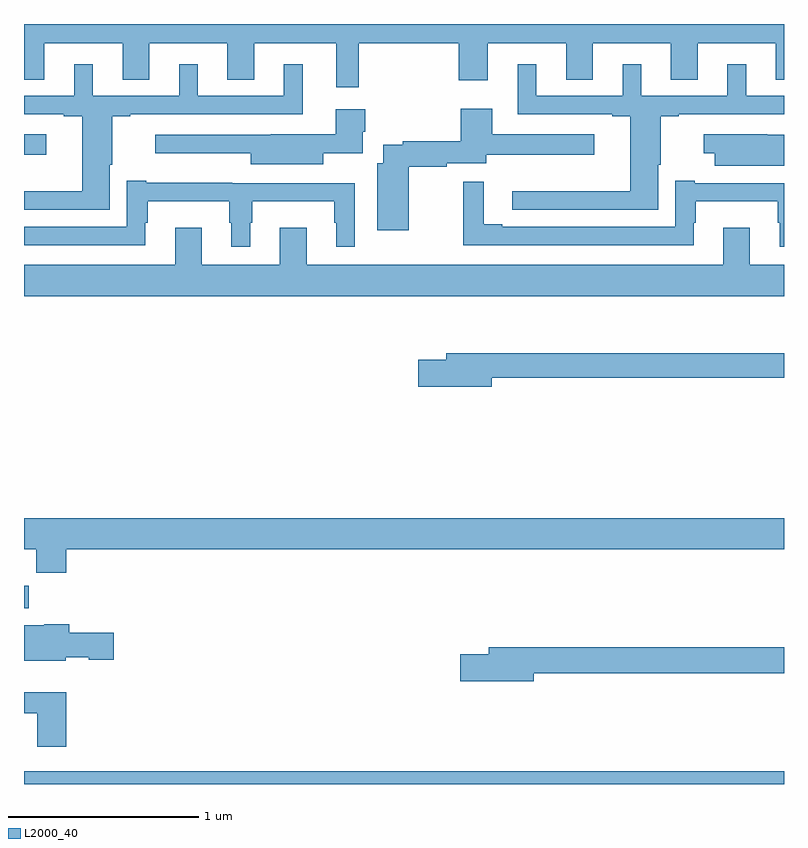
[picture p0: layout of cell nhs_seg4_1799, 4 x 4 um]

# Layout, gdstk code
import gdstk
lib = gdstk.Library(unit=1e-6, precision=1e-09)
def R(c, l, rs):  # rectangles x0, y0, x1, y1
    for r in rs: c.add(gdstk.rectangle(r[:2], r[2:], *l))
def P(c, l, *ps):  # polygons
    for p in ps: c.add(gdstk.Polygon(p, *l))
L2000_40 = (2000, 40)

nhs_seg4_1799 = lib.new_cell('nhs_seg4_1799')
R(nhs_seg4_1799, L2000_40, [(203,812.9,207,812.968), (203,813.824,203.024,813.943), (203,816.212,203.116,816.319)])
P(nhs_seg4_1799, L2000_40, [(204.761,816.8),(205.289,816.8),(205.289,816.603),(205.441,816.603),(205.441,816.8),(205.853,816.8),(205.853,816.607),(205.993,816.607),(205.993,816.8),(206.405,816.8),(206.405,816.607),(206.545,816.607),(206.545,816.8),(206.957,816.8),(206.957,816.607),(207,816.607),(207,816.9),(203,816.9),(203,816.607),(203.107,816.607),(203.107,816.8),(203.519,816.8),(203.519,816.607),(203.659,816.607),(203.659,816.8),(204.071,816.8),(204.071,816.607),(204.211,816.607),(204.211,816.8),(204.644,816.8),(204.644,816.567),(204.761,816.567)],
  [(206.338,816.159),(206.35,816.159),(206.35,816.414),(206.446,816.414),(206.446,816.426),(207,816.426),(207,816.522),(206.8,816.522),(206.8,816.688),(206.702,816.688),(206.702,816.522),(206.248,816.522),(206.248,816.688),(206.15,816.688),(206.15,816.522),(205.696,816.522),(205.696,816.688),(205.598,816.688),(205.598,816.426),(206.096,816.426),(206.096,816.414),(206.192,816.414),(206.192,816.02),(205.569,816.02),(205.569,815.922),(206.338,815.922)],
  [(203.452,816.159),(203.464,816.159),(203.464,816.414),(203.56,816.414),(203.56,816.426),(204.467,816.426),(204.467,816.688),(204.368,816.688),(204.368,816.522),(203.914,816.522),(203.914,816.688),(203.816,816.688),(203.816,816.522),(203.362,816.522),(203.362,816.688),(203.264,816.688),(203.264,816.522),(203,816.522),(203,816.426),(203.21,816.426),(203.21,816.414),(203.306,816.414),(203.306,816.02),(203,816.02),(203,815.922),(203.452,815.922)],
  [(205.026,816.148),(205.226,816.148),(205.226,816.168),(205.432,816.168),(205.432,816.212),(206.002,816.212),(206.002,816.319),(205.465,816.319),(205.465,816.454),(205.298,816.454),(205.298,816.284),(204.994,816.284),(204.994,816.264),(204.89,816.264),(204.89,816.166),(204.86,816.166),(204.86,815.814),(205.026,815.814)],
  [(204.574,816.221),(204.784,816.221),(204.784,816.332),(204.797,816.332),(204.797,816.451),(204.641,816.451),(204.641,816.321),(204.298,816.321),(204.298,816.318),(203.691,816.318),(203.691,816.221),(204.194,816.221),(204.194,816.161),(204.574,816.161)],
  [(207,816.318),(206.912,816.318),(206.912,816.319),(206.577,816.319),(206.577,816.221),(206.636,816.221),(206.636,816.155),(207,816.155)],
  [(207,816.063),(206.53,816.063),(206.53,816.076),(206.427,816.076),(206.427,815.832),(205.516,815.832),(205.516,815.845),(205.42,815.845),(205.42,816.07),(205.311,816.07),(205.311,815.736),(206.524,815.736),(206.524,815.855),(206.536,815.855),(206.536,815.966),(206.967,815.966),(206.967,815.855),(206.978,815.855),(206.978,815.727),(207,815.727)],
  [(204.19,815.855),(204.202,815.855),(204.202,815.966),(204.633,815.966),(204.633,815.855),(204.644,815.855),(204.644,815.727),(204.741,815.727),(204.741,816.063),(204.096,816.063),(204.096,816.064),(203.644,816.064),(203.644,816.076),(203.541,816.076),(203.541,815.832),(203,815.832),(203,815.736),(203.638,815.736),(203.638,815.855),(203.65,815.855),(203.65,815.966),(204.081,815.966),(204.081,815.855),(204.092,815.855),(204.092,815.727),(204.19,815.727)],
  [(207,815.632),(206.821,815.632),(206.821,815.827),(206.681,815.827),(206.681,815.632),(204.487,815.632),(204.487,815.827),(204.347,815.827),(204.347,815.632),(203.935,815.632),(203.935,815.827),(203.795,815.827),(203.795,815.632),(203,815.632),(203,815.468),(207,815.468)],
  [(205.462,815.038),(207,815.038),(207,815.167),(205.223,815.167),(205.223,815.133),(205.074,815.133),(205.074,814.991),(205.462,814.991)],
  [(203.222,814.136),(207,814.136),(207,814.3),(203,814.3),(203,814.136),(203.065,814.136),(203.065,814.012),(203.222,814.012)],
  [(203.22,813.566),(203.34,813.566),(203.34,813.554),(203.473,813.554),(203.473,813.696),(203.237,813.696),(203.237,813.742),(203.106,813.742),(203.106,813.736),(203,813.736),(203,813.548),(203.22,813.548)],
  [(205.684,813.484),(207,813.484),(207,813.62),(205.445,813.62),(205.445,813.584),(205.296,813.584),(205.296,813.442),(205.684,813.442)],
  [(203.222,813.382),(203,813.382),(203,813.273),(203.069,813.273),(203.069,813.096),(203.222,813.096)])

lib.write_gds('nhs_seg4_1799.gds')
